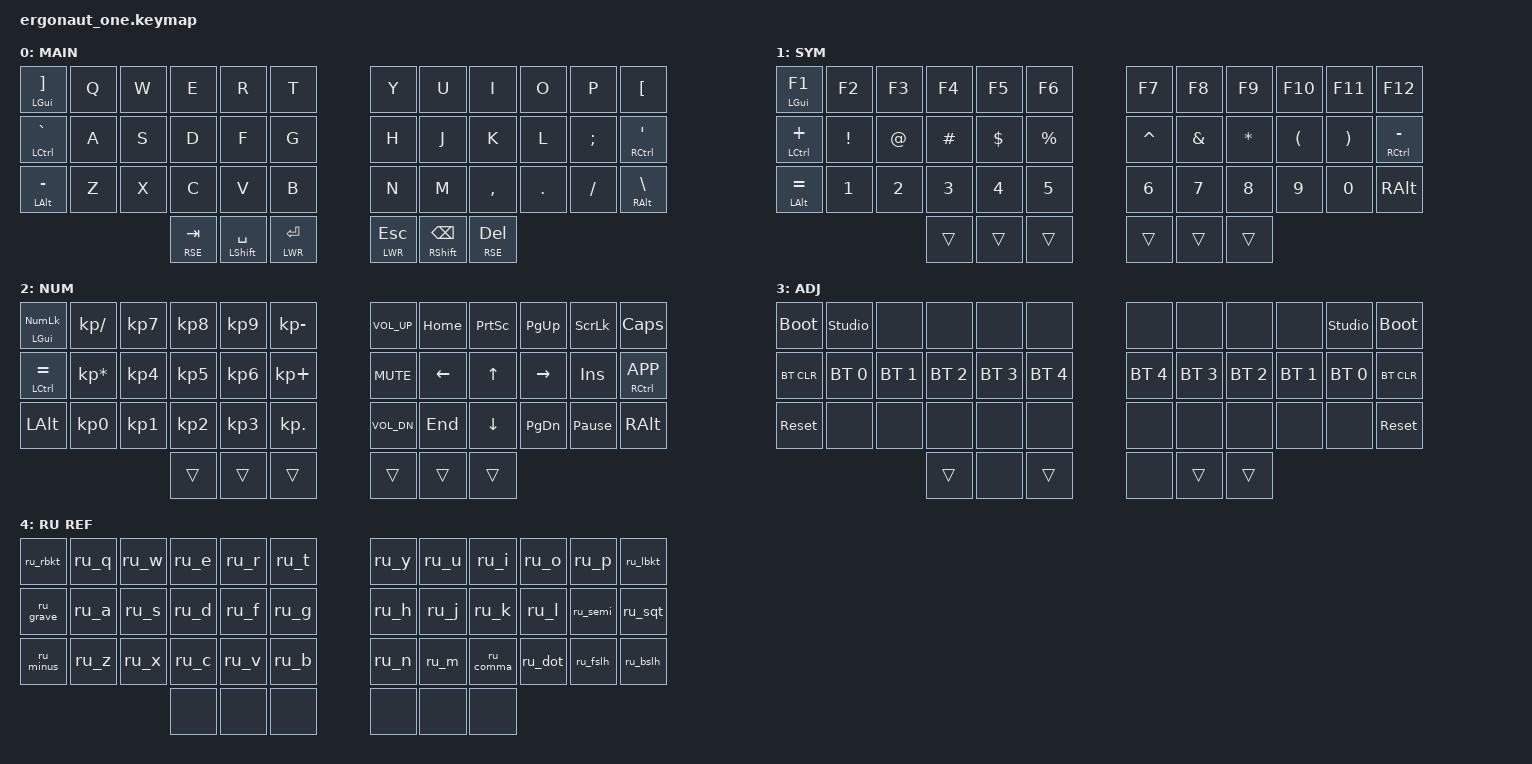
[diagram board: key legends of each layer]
#include <behaviors.dtsi>
#include <dt-bindings/zmk/keys.h>
#include <dt-bindings/zmk/bt.h>

#define DEF 0
#define LWR 1
#define RSE 2
#define ADJ 3
#define RU 4

&lt {
    quick-tap-ms = <200>;
};

&mt {
    quick-tap-ms = <200>;
};

/ {
    conditional_layers {
        compatible = "zmk,conditional-layers";

        tri-layer {
            if-layers = <LWR RSE>;
            then-layer = <ADJ>;
        };
    };

    macros {
        ru_rbkt: ru_rbkt { compatible = "zmk,behavior-macro"; #binding-cells = <0>; label = "Ъ"; display-name = "Ъ"; bindings = <&kp RBKT>; };
        ru_q: ru_q { compatible = "zmk,behavior-macro"; #binding-cells = <0>; label = "Й"; display-name = "Й"; bindings = <&kp Q>; };
        ru_w: ru_w { compatible = "zmk,behavior-macro"; #binding-cells = <0>; label = "Ц"; display-name = "Ц"; bindings = <&kp W>; };
        ru_e: ru_e { compatible = "zmk,behavior-macro"; #binding-cells = <0>; label = "У"; display-name = "У"; bindings = <&kp E>; };
        ru_r: ru_r { compatible = "zmk,behavior-macro"; #binding-cells = <0>; label = "К"; display-name = "К"; bindings = <&kp R>; };
        ru_t: ru_t { compatible = "zmk,behavior-macro"; #binding-cells = <0>; label = "Е"; display-name = "Е"; bindings = <&kp T>; };
        ru_y: ru_y { compatible = "zmk,behavior-macro"; #binding-cells = <0>; label = "Н"; display-name = "Н"; bindings = <&kp Y>; };
        ru_u: ru_u { compatible = "zmk,behavior-macro"; #binding-cells = <0>; label = "Г"; display-name = "Г"; bindings = <&kp U>; };
        ru_i: ru_i { compatible = "zmk,behavior-macro"; #binding-cells = <0>; label = "Ш"; display-name = "Ш"; bindings = <&kp I>; };
        ru_o: ru_o { compatible = "zmk,behavior-macro"; #binding-cells = <0>; label = "Щ"; display-name = "Щ"; bindings = <&kp O>; };
        ru_p: ru_p { compatible = "zmk,behavior-macro"; #binding-cells = <0>; label = "З"; display-name = "З"; bindings = <&kp P>; };
        ru_lbkt: ru_lbkt { compatible = "zmk,behavior-macro"; #binding-cells = <0>; label = "Х"; display-name = "Х"; bindings = <&kp LBKT>; };
        ru_grave: ru_grave { compatible = "zmk,behavior-macro"; #binding-cells = <0>; label = "Ё"; display-name = "Ё"; bindings = <&kp GRAVE>; };
        ru_a: ru_a { compatible = "zmk,behavior-macro"; #binding-cells = <0>; label = "Ф"; display-name = "Ф"; bindings = <&kp A>; };
        ru_s: ru_s { compatible = "zmk,behavior-macro"; #binding-cells = <0>; label = "Ы"; display-name = "Ы"; bindings = <&kp S>; };
        ru_d: ru_d { compatible = "zmk,behavior-macro"; #binding-cells = <0>; label = "В"; display-name = "В"; bindings = <&kp D>; };
        ru_f: ru_f { compatible = "zmk,behavior-macro"; #binding-cells = <0>; label = "А"; display-name = "А"; bindings = <&kp F>; };
        ru_g: ru_g { compatible = "zmk,behavior-macro"; #binding-cells = <0>; label = "П"; display-name = "П"; bindings = <&kp G>; };
        ru_h: ru_h { compatible = "zmk,behavior-macro"; #binding-cells = <0>; label = "Р"; display-name = "Р"; bindings = <&kp H>; };
        ru_j: ru_j { compatible = "zmk,behavior-macro"; #binding-cells = <0>; label = "О"; display-name = "О"; bindings = <&kp J>; };
        ru_k: ru_k { compatible = "zmk,behavior-macro"; #binding-cells = <0>; label = "Л"; display-name = "Л"; bindings = <&kp K>; };
        ru_l: ru_l { compatible = "zmk,behavior-macro"; #binding-cells = <0>; label = "Д"; display-name = "Д"; bindings = <&kp L>; };
        ru_semi: ru_semi { compatible = "zmk,behavior-macro"; #binding-cells = <0>; label = "Ж"; display-name = "Ж"; bindings = <&kp SEMI>; };
        ru_sqt: ru_sqt { compatible = "zmk,behavior-macro"; #binding-cells = <0>; label = "Э"; display-name = "Э"; bindings = <&kp SQT>; };
        ru_minus: ru_minus { compatible = "zmk,behavior-macro"; #binding-cells = <0>; label = "-"; display-name = "-"; bindings = <&kp MINUS>; };
        ru_z: ru_z { compatible = "zmk,behavior-macro"; #binding-cells = <0>; label = "Я"; display-name = "Я"; bindings = <&kp Z>; };
        ru_x: ru_x { compatible = "zmk,behavior-macro"; #binding-cells = <0>; label = "Ч"; display-name = "Ч"; bindings = <&kp X>; };
        ru_c: ru_c { compatible = "zmk,behavior-macro"; #binding-cells = <0>; label = "С"; display-name = "С"; bindings = <&kp C>; };
        ru_v: ru_v { compatible = "zmk,behavior-macro"; #binding-cells = <0>; label = "М"; display-name = "М"; bindings = <&kp V>; };
        ru_b: ru_b { compatible = "zmk,behavior-macro"; #binding-cells = <0>; label = "И"; display-name = "И"; bindings = <&kp B>; };
        ru_n: ru_n { compatible = "zmk,behavior-macro"; #binding-cells = <0>; label = "Т"; display-name = "Т"; bindings = <&kp N>; };
        ru_m: ru_m { compatible = "zmk,behavior-macro"; #binding-cells = <0>; label = "Ь"; display-name = "Ь"; bindings = <&kp M>; };
        ru_comma: ru_comma { compatible = "zmk,behavior-macro"; #binding-cells = <0>; label = "Б"; display-name = "Б"; bindings = <&kp COMMA>; };
        ru_dot: ru_dot { compatible = "zmk,behavior-macro"; #binding-cells = <0>; label = "Ю"; display-name = "Ю"; bindings = <&kp DOT>; };
        ru_fslh: ru_fslh { compatible = "zmk,behavior-macro"; #binding-cells = <0>; label = "."; display-name = "."; bindings = <&kp FSLH>; };
        ru_bslh: ru_bslh { compatible = "zmk,behavior-macro"; #binding-cells = <0>; label = "\\"; display-name = "\\"; bindings = <&kp BSLH>; };
    };

    keymap {
        compatible = "zmk,keymap";

        default_layer {
            display-name = "MAIN";
            bindings = <
                &mt LGUI RBKT     &kp Q   &kp W   &kp E         &kp R             &kp T         &kp Y         &kp U            &kp I         &kp O     &kp P      &kp LBKT       
                &mt LCTRL GRAVE   &kp A   &kp S   &kp D         &kp F             &kp G         &kp H         &kp J            &kp K         &kp L     &kp SEMI   &mt RCTRL SQT
                &mt LALT MINUS    &kp Z   &kp X   &kp C         &kp V             &kp B         &kp N         &kp M            &kp COMMA     &kp DOT   &kp FSLH   &mt RALT BSLH
                                                  &lt RSE TAB   &mt LSHFT SPACE   &lt LWR RET   &lt LWR ESC   &mt RSHFT BSPC   &lt RSE DEL
            >;
        };
        lower_layer {
            display-name = "SYM";
            bindings = <
                &mt LGUI F1      &kp F2     &kp F3   &kp F4        &kp F5     &kp F6      &kp F7      &kp F8     &kp F9        &kp F10    &kp F11    &kp F12           
                &mt LCTRL PLUS   &kp EXCL   &kp AT   &kp HASH      &kp DLLR   &kp PRCNT   &kp CARET   &kp AMPS   &kp STAR      &kp LPAR   &kp RPAR   &mt RCTRL MINUS
                &mt LALT EQUAL   &kp N1     &kp N2   &kp N3        &kp N4     &kp N5      &kp N6      &kp N7     &kp N8        &kp N9     &kp N0     &kp RALT
                                                     &trans        &trans     &trans      &trans      &trans     &trans
            >;
        };

        raise_layer {
            display-name = "NUM";
            bindings = <
                &mt LGUI KP_NUM   &kp KP_SLASH      &kp KP_N7   &kp KP_N8   &kp KP_N9   &kp KP_MINUS   &kp C_VOL_UP   &kp HOME   &kp PSCRN   &kp PG_UP   &kp SLCK          &kp CLCK
                &mt LCTRL EQUAL   &kp KP_MULTIPLY   &kp KP_N4   &kp KP_N5   &kp KP_N6   &kp KP_PLUS    &kp C_MUTE     &kp LEFT   &kp UP      &kp RIGHT   &kp INS           &mt RCTRL  K_APP
                &kp LALT          &kp KP_N0         &kp KP_N1   &kp KP_N2   &kp KP_N3   &kp KP_DOT     &kp C_VOL_DN   &kp END    &kp DOWN    &kp PG_DN   &kp PAUSE_BREAK   &kp RALT
                                                                &trans      &trans      &trans         &trans         &trans     &trans
            >;
        };
        adjust_layer {
            display-name = "ADJ";
            bindings = <
                &bootloader   &studio_unlock &none          &none          &none          &none          &none          &none          &none          &none          &studio_unlock &bootloader
                &bt BT_CLR    &bt BT_SEL 0   &bt BT_SEL 1   &bt BT_SEL 2   &bt BT_SEL 3   &bt BT_SEL 4   &bt BT_SEL 4   &bt BT_SEL 3   &bt BT_SEL 2   &bt BT_SEL 1   &bt BT_SEL 0   &bt BT_CLR
                &sys_reset    &none          &none          &none          &none          &none          &none          &none          &none          &none          &none          &sys_reset
                                                            &trans         &none          &trans         &none          &trans         &trans
            >;
        };
        russian_reference_layer {
            display-name = "RU REF";
            bindings = <
                &ru_rbkt     &ru_q   &ru_w   &ru_e       &ru_r       &ru_t       &ru_y       &ru_u       &ru_i       &ru_o       &ru_p       &ru_lbkt
                &ru_grave    &ru_a   &ru_s   &ru_d       &ru_f       &ru_g       &ru_h       &ru_j       &ru_k       &ru_l       &ru_semi    &ru_sqt
                &ru_minus    &ru_z   &ru_x   &ru_c       &ru_v       &ru_b       &ru_n       &ru_m       &ru_comma   &ru_dot     &ru_fslh    &ru_bslh
                                            &none         &none       &none       &none       &none       &none
            >;
        };
    };
};
